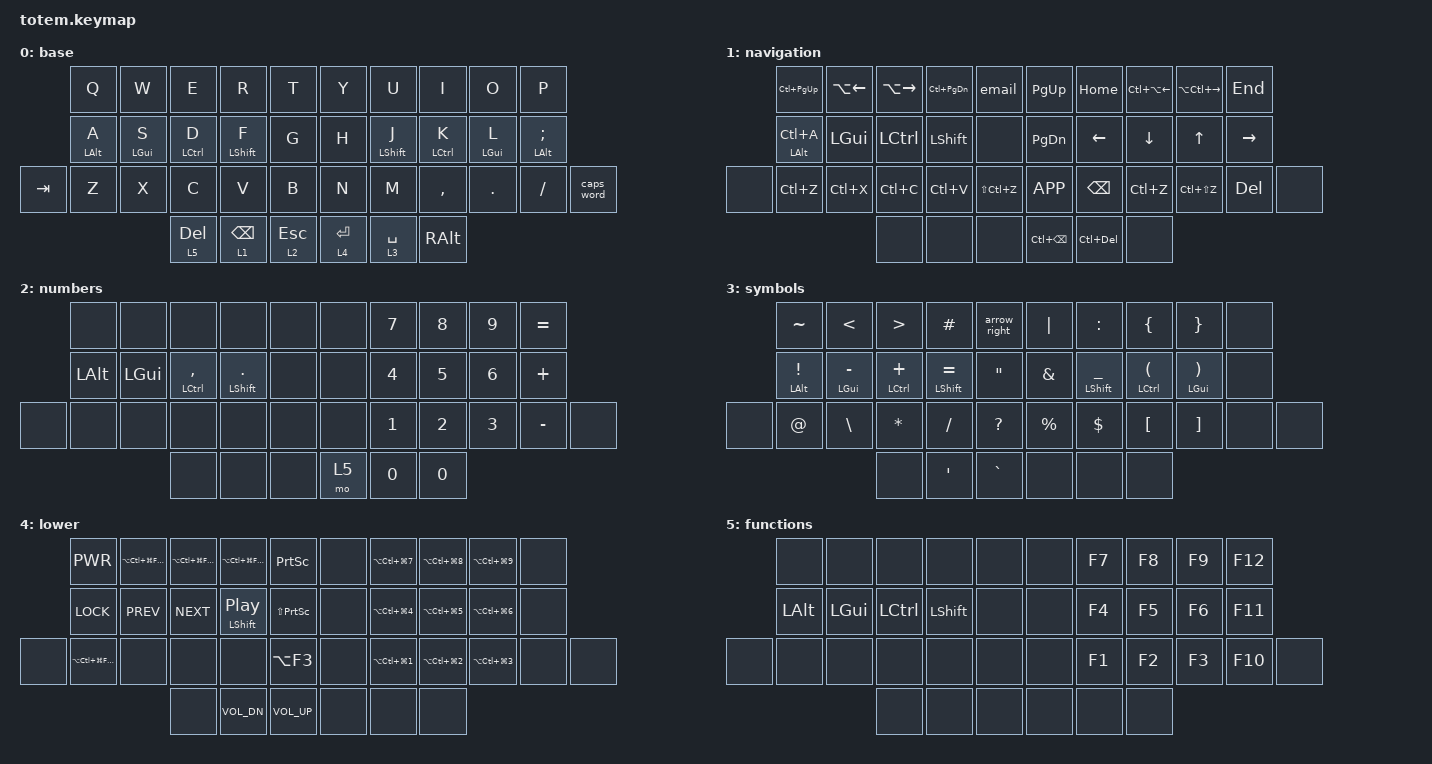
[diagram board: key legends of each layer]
#include <behaviors.dtsi>
#include <dt-bindings/zmk/keys.h>

/ {
    behaviors {
        hrml: hrml {
            compatible = "zmk,behavior-hold-tap";
            label = "HRML";
            bindings = <&kp>, <&kp>;

            #binding-cells = <2>;
            hold-trigger-key-positions = <5 6 7 8 9 15 16 17 18 19 26 27 28 29 30 35 37 36 32 33 34 31>; // right-side + thumbs
            flavor = "tap-preferred";
            tapping-term-ms = <200>;
            hold-trigger-on-release;
            quick-tap-ms = <300>;
            require-prior-idle-ms = <170>;
        };

        hrmr: hrmr {
            compatible = "zmk,behavior-hold-tap";
            label = "HRMR";
            bindings = <&kp>, <&kp>;

            #binding-cells = <2>;
            flavor = "tap-preferred";
            tapping-term-ms = <200>;
            hold-trigger-key-positions = <0 1 2 3 4 10 11 12 13 14 21 22 23 24 32 33 34 25 37 36 35 20>; // left-side + thumbs
            hold-trigger-on-release;
            quick-tap-ms = <300>;
            require-prior-idle-ms = <170>;
        };

        thumb: thumb {
            compatible = "zmk,behavior-hold-tap";
            label = "MO_TAP_THUMBS";
            bindings = <&mo>, <&kp>;

            #binding-cells = <2>;
            flavor = "balanced";
            tapping-term-ms = <200>;
            quick-tap-ms = <300>;
            hold-trigger-key-positions = <0 1 2 3 4 10 11 12 13 14 22 23 24 25 21 5 6 7 8 9 15 16 17 18 19 26 27 28 29 30 20 31 36 37 35 34 33 32>;
        };

        hrml_shift: hrml_shift {
            compatible = "zmk,behavior-hold-tap";
            label = "HRML_SHIFT";
            bindings = <&kp>, <&kp>;

            #binding-cells = <2>;
            hold-trigger-key-positions = <5 6 7 8 9 15 16 17 18 19 26 27 28 29 30 32 33 34 35 37 36 31>;
            flavor = "tap-preferred";
            tapping-term-ms = <150>;
            quick-tap-ms = <300>;
            require-prior-idle-ms = <70>;
        };

        hrmr_shift: hrmr_shift {
            compatible = "zmk,behavior-hold-tap";
            label = "HRMR_SHIFT";
            bindings = <&kp>, <&kp>;

            #binding-cells = <2>;
            flavor = "tap-preferred";
            tapping-term-ms = <150>;
            hold-trigger-key-positions = <0 1 2 3 4 10 11 12 13 14 21 22 23 24 32 33 34 25 37 36 35 20>;
            quick-tap-ms = <300>;
            require-prior-idle-ms = <70>;
        };

        space: space {
            compatible = "zmk,behavior-hold-tap";
            label = "SPACE";
            bindings = <&mo>, <&kp>;

            #binding-cells = <2>;
            flavor = "balanced";
            tapping-term-ms = <170>;
            quick-tap-ms = <200>;
            hold-trigger-key-positions = <0 1 2 3 4 10 11 12 13 14 22 23 24 25 5 6 7 8 9 15 16 17 18 19 26 27 28 29 30 21 32 33 34 20 31>;
        };

        backspace: backspace {
            compatible = "zmk,behavior-hold-tap";
            label = "BACKSPACE";
            bindings = <&mo>, <&kp>;

            #binding-cells = <2>;
            flavor = "balanced";
            tapping-term-ms = <170>;
            quick-tap-ms = <150>;
            hold-trigger-key-positions = <0 1 2 3 4 10 11 12 13 14 22 23 24 25 21 5 6 7 8 9 15 16 17 18 19 26 27 28 29 30 35 36 37 31 20>;
        };

        tumb_key: tumb_key {
            compatible = "zmk,behavior-hold-tap";
            label = "TUMB_KEY";
            bindings = <&kp>, <&kp>;

            #binding-cells = <2>;
            flavor = "balanced";
            tapping-term-ms = <200>;
            quick-tap-ms = <300>;
            hold-trigger-key-positions = <0 1 2 3 4 10 11 12 13 14 21 22 23 24 25 5 6 7 8 9 15 16 17 18 19 26 27 28 29 30>;
        };
    };

    combos { compatible = "zmk,combos"; };

    macros {
        email: email {
            compatible = "zmk,behavior-macro";
            #binding-cells = <0>;
            bindings = <&kp L &kp I &kp P &kp I &kp N &kp S &kp K &kp I &kp DOT &kp J &kp AT &kp P &kp M &kp DOT &kp M &kp E>;
            label = "EMAIL";
        };

        arrow_right: arrow_right {
            compatible = "zmk,behavior-macro";
            #binding-cells = <0>;
            bindings = <&kp MINUS &kp GREATER_THAN>;
            label = "ARROW_RIGHT";
        };
    };

    keymap {
        compatible = "zmk,keymap";

        base {
            bindings = <
         &kp Q         &kp W         &kp E          &kp R                   &kp T           &kp Y           &kp U                 &kp I          &kp O         &kp P
         &hrml LALT A  &hrml LGUI S  &hrml LCTRL D  &hrml_shift LSHIFT F    &kp G           &kp H           &hrmr_shift LSHIFT J  &hrmr LCTRL K  &hrmr LGUI L  &hrmr LALT SEMI
&kp TAB  &kp Z         &kp X         &kp C          &kp V                   &kp B           &kp N           &kp M                 &kp COMMA      &kp DOT       &kp FSLH         &caps_word
                                     &thumb 5 DEL   &backspace 1 BACKSPACE  &thumb 2 ESC    &thumb 4 ENTER  &space 3 SPACE        &kp RALT
            >;
        };

        navigation {
            bindings = <
       &kp LC(PAGE_UP)   &kp LA(LEFT)  &kp LA(RIGHT)  &kp LC(PAGE_DOWN)  &email           &kp PAGE_UP        &kp HOME       &kp LC(LA(LEFT))  &kp LA(LC(RIGHT))  &kp END
       &hrml LALT LC(A)  &kp LGUI      &kp LCTRL      &kp LSHFT          &none            &kp PAGE_DOWN      &kp LEFT       &kp DOWN          &kp UP             &kp RIGHT
&none  &kp LC(Z)         &kp LC(X)     &kp LC(C)      &kp LC(V)          &kp LS(LC(Z))    &kp K_APP          &kp BACKSPACE  &kp LC(Z)         &kp LC(LS(Z))      &kp DEL    &none
                                       &none          &none              &none            &kp LC(BACKSPACE)  &kp LC(DEL)    &none
            >;
        };

        numbers {
            bindings = <
       &none     &none     &none              &none                  &none    &none  &kp N7  &kp N8  &kp N9  &kp EQUAL
       &kp LALT  &kp LGUI  &hrml LCTRL COMMA  &hrml_shift LSHFT DOT  &none    &none  &kp N4  &kp N5  &kp N6  &kp PLUS
&none  &none     &none     &none              &none                  &none    &none  &kp N1  &kp N2  &kp N3  &kp MINUS  &none
                           &none              &none                  &none    &mo 5  &kp N0  &kp N0
            >;
        };

        symbols {
            bindings = <
       &kp TILDE        &kp LT            &kp GT            &kp HASH                 &arrow_right         &kp PIPE     &kp COLON                &kp LBRC          &kp RBRC         &none
       &hrml LALT EXCL  &hrml LGUI MINUS  &hrml LCTRL PLUS  &hrml_shift LSHFT EQUAL  &kp DOUBLE_QUOTES    &kp AMPS     &hrmr_shift LSHFT UNDER  &hrmr LCTRL LPAR  &hrmr LGUI RPAR  &none
&none  &kp AT           &kp BSLH          &kp STAR          &kp FSLH                 &kp QMARK            &kp PERCENT  &kp DLLR                 &kp LBKT          &kp RBKT         &none  &none
                                          &none             &kp SQT                  &kp GRAVE            &none        &none                    &none
            >;
        };

        lower {
            bindings = <
       &kp K_PWR            &kp LA(LC(LG(F13)))  &kp LA(LC(LG(F14)))  &kp LA(LC(LG(F15)))     &kp PRINTSCREEN        &none  &kp LA(LC(LG(NUMBER_7)))  &kp LA(LC(LG(NUMBER_8)))  &kp LA(LC(LG(NUMBER_9)))  &none
       &kp K_LOCK           &kp C_PREV           &kp C_NEXT           &hrml_shift LSHFT C_PP  &kp LS(PRINTSCREEN)    &none  &kp LA(LC(LG(NUMBER_4)))  &kp LA(LC(LG(NUMBER_5)))  &kp LA(LC(LG(NUMBER_6)))  &none
&none  &kp LA(LC(LG(F16)))  &none                &none                &none                   &kp LA(F3)             &none  &kp LA(LC(LG(NUMBER_1)))  &kp LA(LC(LG(NUMBER_2)))  &kp LA(LC(LG(NUMBER_3)))  &none  &none
                                                 &none                &kp C_VOL_DN            &kp C_VOL_UP           &none  &none                     &none
            >;
        };

        functions {
            bindings = <
       &none     &none     &none      &none      &none    &none  &kp F7  &kp F8  &kp F9  &kp F12
       &kp LALT  &kp LGUI  &kp LCTRL  &kp LSHFT  &none    &none  &kp F4  &kp F5  &kp F6  &kp F11
&none  &none     &none     &none      &none      &none    &none  &kp F1  &kp F2  &kp F3  &kp F10  &none
                           &none      &none      &none    &none  &none   &none
            >;
        };
    };
};
